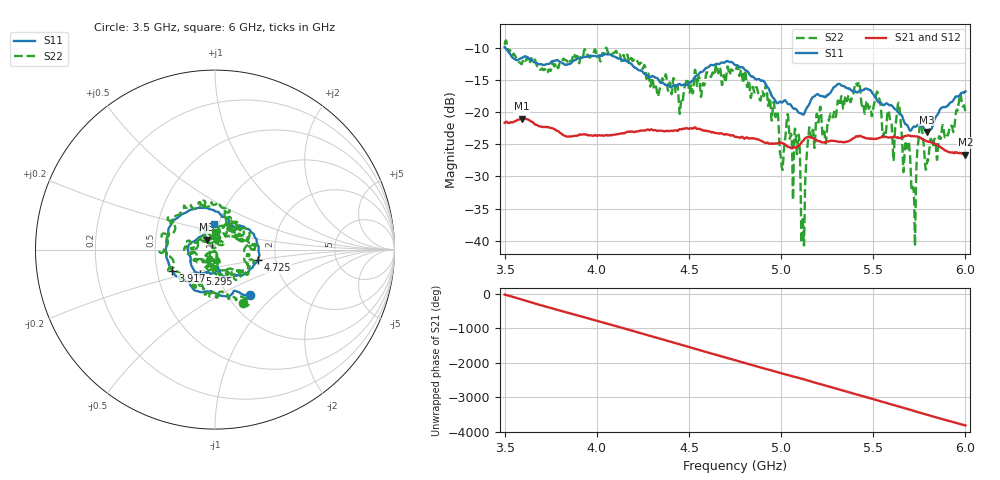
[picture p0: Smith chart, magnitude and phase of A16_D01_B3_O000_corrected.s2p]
! Created with skrf 1.9.0 (http://scikit-rf.org).
# Hz S RI R 50.0
!freq ReS11 ImS11 ReS21 ImS21 ReS12 ImS12 ReS22 ImS22
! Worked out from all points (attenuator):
!   1601 points, 3.5 GHz to 6 GHz, reference 50 ohm
!   highest |S21| = -21.01 dB at 3.592 GHz (marker M1); lowest = -26.6 dB at 6 GHz (marker M2)
!   lowest |S11| = -23.1 dB at 5.791 GHz (marker M3), VSWR 1.15, Z = 45.5 + j4.99 ohm
!   |S11| at or under -10 dB: 3.504 GHz to end of sweep
!   |S22| runs from -40.9 to -8.8 dB; largest |S21 - S12| = 0.0013
!   S11 on the Smith chart (normalised r, x): 3.5 GHz: 1.26, -0.72; 3.917 GHz: 0.60, -0.15; 4.725 GHz: 1.61, -0.20; 5.295 GHz: 0.81, -0.22; 6 GHz: 0.95, +0.28
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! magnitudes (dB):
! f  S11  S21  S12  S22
! 3.5 GHz  -9.9  -21.7  -21.7  -9.5
! 3.592 GHz  -11.6  -21.0  -21.0  -12.5
! 3.917 GHz  -11.6  -23.5  -23.5  -11.2
! 4.334 GHz  -14.9  -22.9  -22.9  -17.3
! 4.725 GHz  -12.2  -23.6  -23.6  -13.8
! 4.75 GHz  -12.7  -23.9  -23.8  -13.4
! 4.969 GHz  -18.2  -24.9  -24.9  -20.7
! 5.003 GHz  -18.5  -24.8  -24.8  -28.5
! 5.031 GHz  -18.5  -25.3  -25.2  -20.8
! 5.086 GHz  -19.7  -25.4  -25.4  -26.6
! 5.119 GHz  -20.4  -24.5  -24.4  -37.0
! 5.145 GHz  -19.1  -23.9  -23.9  -24.6
! 5.167 GHz  -17.8  -24.0  -24.0  -23.4
! 5.295 GHz  -16.0  -24.5  -24.5  -20.8
! 5.414 GHz  -16.9  -23.8  -23.8  -15.7
! 5.584 GHz  -18.9  -23.9  -23.9  -19.9
! 5.611 GHz  -19.3  -23.8  -23.8  -27.4
! 5.641 GHz  -20.2  -24.0  -24.0  -18.9
! 5.719 GHz  -22.3  -23.8  -23.7  -32.1
! 5.755 GHz  -22.0  -24.0  -23.9  -21.8
! 5.791 GHz  -23.1  -24.5  -24.5  -28.0
! 6 GHz  -16.7  -26.6  -26.6  -20.0
